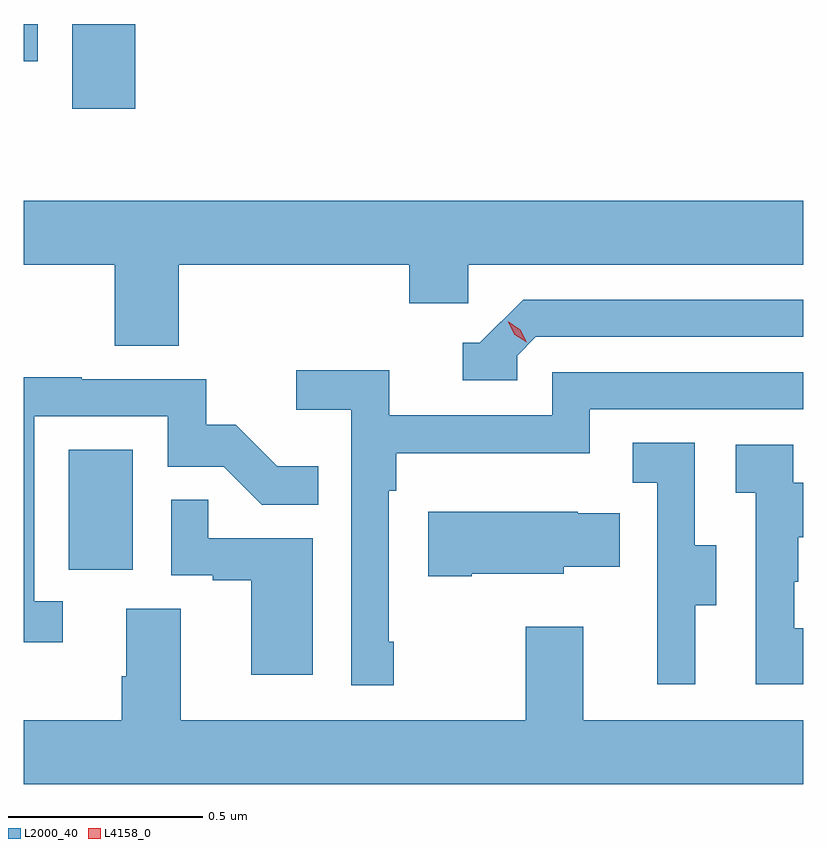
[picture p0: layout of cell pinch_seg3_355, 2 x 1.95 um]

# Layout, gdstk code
import gdstk
lib = gdstk.Library(unit=1e-6, precision=1e-09)
def R(c, l, rs):  # rectangles x0, y0, x1, y1
    for r in rs: c.add(gdstk.rectangle(r[:2], r[2:], *l))
def P(c, l, *ps):  # polygons
    for p in ps: c.add(gdstk.Polygon(p, *l))
L2000_40 = (2000, 40)
L4158_0 = (4158, 0)

pinch_seg3_355 = lib.new_cell('pinch_seg3_355')
R(pinch_seg3_355, L2000_40, [(972.956,702.798,973.12,703.105), (972.965,703.98,973.126,704.198), (972.84,704.103,972.876,704.198)])
P(pinch_seg3_355, L2000_40, [(973.238,703.58),(973.829,703.58),(973.829,703.482),(973.98,703.482),(973.98,703.58),(974.84,703.58),(974.84,703.744),(972.84,703.744),(972.84,703.58),(973.073,703.58),(973.073,703.372),(973.238,703.372)],
  [(974.106,703.347),(974.154,703.395),(974.84,703.395),(974.84,703.491),(974.121,703.491),(974.01,703.38),(973.967,703.38),(973.967,703.284),(974.106,703.284)],
  [(973.789,702.613),(973.776,702.613),(973.776,703.001),(973.796,703.001),(973.796,703.097),(974.292,703.097),(974.292,703.209),(974.84,703.209),(974.84,703.305),(974.196,703.305),(974.196,703.194),(973.778,703.194),(973.778,703.31),(973.539,703.31),(973.539,703.208),(973.68,703.208),(973.68,702.501),(973.789,702.501)],
  [(972.94,702.717),(972.867,702.717),(972.867,703.191),(973.209,703.191),(973.209,703.062),(973.353,703.062),(973.451,702.964),(973.595,702.964),(973.595,703.063),(973.491,703.063),(973.384,703.17),(973.308,703.17),(973.308,703.287),(972.989,703.287),(972.989,703.292),(972.84,703.292),(972.84,702.612),(972.94,702.612)],
  [(974.563,702.706),(974.617,702.706),(974.617,702.861),(974.562,702.861),(974.562,703.124),(974.403,703.124),(974.403,703.021),(974.466,703.021),(974.466,702.717),(974.465,702.717),(974.465,702.504),(974.563,702.504)],
  [(974.84,702.648),(974.817,702.648),(974.817,702.767),(974.827,702.767),(974.827,702.881),(974.84,702.881),(974.84,703.021),(974.814,703.021),(974.814,703.119),(974.667,703.119),(974.667,702.995),(974.718,702.995),(974.718,702.504),(974.84,702.504)],
  [(973.582,702.879),(973.313,702.879),(973.313,702.977),(973.218,702.977),(973.218,702.783),(973.325,702.783),(973.325,702.771),(973.424,702.771),(973.424,702.528),(973.582,702.528)],
  [(973.99,702.788),(974.226,702.788),(974.226,702.806),(974.369,702.806),(974.369,702.943),(974.261,702.943),(974.261,702.946),(973.878,702.946),(973.878,702.781),(973.99,702.781)],
  [(974.84,702.412),(974.275,702.412),(974.275,702.652),(974.128,702.652),(974.128,702.412),(973.243,702.412),(973.243,702.698),(973.103,702.698),(973.103,702.524),(973.091,702.524),(973.091,702.412),(972.84,702.412),(972.84,702.248),(974.84,702.248)])
P(pinch_seg3_355, L4158_0, [(974.131,703.382),(974.1,703.401),(974.083,703.433),(974.083,703.434),(974.084,703.434),(974.114,703.414),(974.131,703.382),(974.131,703.382)])

lib.write_gds('pinch_seg3_355.gds')
